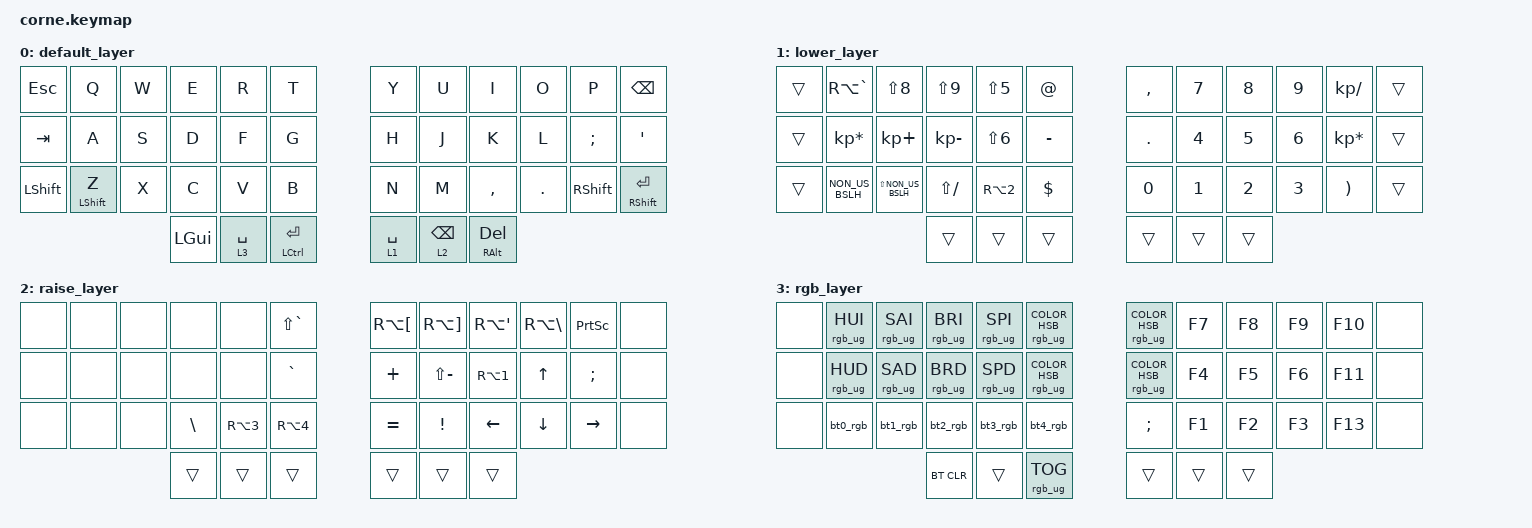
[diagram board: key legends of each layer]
/*
 * Copyright (c) 2020 The ZMK Contributors
 *
 * SPDX-License-Identifier: MIT
 */

#include <behaviors.dtsi>
#include <dt-bindings/zmk/keys.h>
#include <dt-bindings/zmk/bt.h>
#include <dt-bindings/zmk/rgb.h>

&nice_view_spi {
cs-gpios = <&pro_micro 8 GPIO_ACTIVE_HIGH>;
};

&led_strip {
    chain-length = <27>;
};
/ {
    combos {
        compatible = "zmk,combos";
            combo_acute_n {
            timeout-ms = <300>; // Límite de tiempo para la secuencia
            key-positions = <22 30>; // ACUTE en pos 22, N en pos 30
            bindings = <&n_tilde>;   // Dispara macro ñ
        };
        combo_esc {
            timeout-ms = <50>;
            key-positions = <4 5>;
            bindings = <&kp ESC>;
        };
       compatible = "zmk,combos";
        combo_tab {
            timeout-ms = <50>;
            key-positions = <16 17>;
            bindings = <&kp TAB>;
        };
       compatible = "zmk,combos";
        combo_arr {
            timeout-ms = <50>;
            key-positions = <28 29>;
            bindings = <&kp RA(N2)>;
        };
        compatible = "zmk,combos";
        combo_BSPC1 {
            timeout-ms = <50>;
            key-positions = <18 19>;
            bindings = <&kp LC(BSPC)>;
        };
        compatible = "zmk,combos";
        combo_BSPC2 {
            timeout-ms = <50>;
            key-positions = <9 10>;
            bindings = <&kp BSPC>;
        };
        compatible = "zmk,combos";
        combo_num {
            timeout-ms = <50>;
            key-positions = <6 7>;
            bindings = <&tog 1>;
        };
        compatible = "zmk,combos";
        combo_ene {
            timeout-ms = <50>;
            key-positions = <21 22>;
            bindings = <&kp SEMI>;
        };
        compatible = "zmk,combos";
        combo_ene2 {
            timeout-ms = <50>;
            key-positions = <30 31>;
            bindings = <&kp SEMI>;
        };
        compatible = "zmk,combos";
        combo_suspende {
            timeout-ms = <50>;
            key-positions = <14 15 16>;
            bindings = <&win_sleep>;
        };
        compatible = "zmk,combos";
        combo_blqmayus {
            timeout-ms = <50>;
            key-positions = <25 26>;
            bindings = <&kp CLCK>;
        };
         compatible = "zmk,combos";
         combo_ctrolz {
            timeout-ms = <50>;
            key-positions = <15 16>;
            bindings = <&kp LC(Z)>;
        };
    };
};
/ {
    behaviors {
        hold_tap {
          tapping-term-ms = <300>;     // Ajusta el tiempo global (ms)
          flavor = "tap-preferred";    // "balanced" o "hold-preferred"
          // hold-trigger-on-release;  // Opcional: mejora detección de taps
          // retro-tap;                // Opcional: suelta y decide tap si no chordeaste
        };
        bt0_rgb: behavior_bt0_rgb {
            compatible = "zmk,behavior-macro";
            label = "BT0_RGB";
            #binding-cells = <0>;
            bindings = <&bt BT_SEL 0 &rgb_ug RGB_COLOR_HSB(300,100,5)>;
        };
        bt1_rgb: behavior_bt1_rgb {
            compatible = "zmk,behavior-macro";
            label = "BT1_RGB";
            #binding-cells = <0>;
            bindings = <&bt BT_SEL 1 &rgb_ug RGB_COLOR_HSB(180,100,5)>;
        };
        bt2_rgb: behavior_bt2_rgb {
            compatible = "zmk,behavior-macro";
            label = "BT2_RGB";
            #binding-cells = <0>;
            bindings = <&bt BT_SEL 2 &rgb_ug RGB_COLOR_HSB(0,100,5)>;
        };
        bt3_rgb: behavior_bt3_rgb {
            compatible = "zmk,behavior-macro";
            label = "BT3_RGB";
            #binding-cells = <0>;
            bindings = <&bt BT_SEL 3 &rgb_ug RGB_COLOR_HSB(120,100,5)>;
        };
        bt4_rgb: behavior_bt4_rgb {
            compatible = "zmk,behavior-macro";
            label = "BT4_RGB";
            #binding-cells = <0>;
            bindings = <&bt BT_SEL 4 &rgb_ug RGB_COLOR_HSB(45,100,5)>;
        };
         win_sleep: win_sleep {
            wait-ms = <500>;
            tap-ms = <5>;
            compatible = "zmk,behavior-macro";
            label = "WIN_SLEEP_KEY";
            #binding-cells = <0>;
            bindings = <&kp LG(X) &kp G &kp S>;
        };
        n_tilde: n_tilde {
            compatible = "zmk,behavior-macro";
            label = "ñ Macro";
            #binding-cells = <0>;
            bindings = <&kp SEMI>; // Unicode para ñ
        };
    };
};
/ {
        keymap {
                compatible = "zmk,keymap";
                default_layer {
// -----------------------------------------------------------------------------------------
// |   0  |  1  |  2  |  3  |  4  |  5  |   |  6  |  7   |  8  |  9  |  10 | 11 | 
// |  12  | 13  | 14  | 15  |  16 |  17 |   | 18  |  19  |  20 |  21 | 22  | 23 |
// |  24  | 25  | 26  | 27  |  28 |  29 |   | 30  |  31  |  32 |  33 | 34  | 35 |
//                    | 36  | 37  | 38  |   | 39  |  40  |  41 |
// -----------------------------------------------------------------------------------------
// |      |  Q  |  W  |  E  |  R  |  T  |   |  Y  |  U   |  I  |  O  |  P  |    |
// |      |  A  |  S  |  D  |  F  |  G  |   |  H  |  J   |  K  |  L  | ´   |    |
// |      |  Z  |  X  |  C  |  V  |  B  |   |  N  |  M   |  ,  |  .  | SHFT |    |
//         SHFT         | SHFT| LWR | CTRL |   | SPAC | RSE  | ALT |
//  0
                        bindings = <
   &kp ESC   &kp Q       &kp W &kp E &kp R &kp T   &kp Y &kp U  &kp I     &kp O   &kp P         &kp BSPC
   &kp TAB   &kp A       &kp S &kp D &kp F &kp G   &kp H &kp J  &kp K     &kp L   &kp SEMI      &kp SQT
   &kp LSHFT &mt LSHFT Z &kp X &kp C &kp V &kp B   &kp N &kp M  &kp COMMA &kp DOT &kp RSHFT     &mt RSHFT RET
       &kp LGUI &lt 3 SPACE &mt LCTRL RET    &lt 1 SPACE &lt 2 BSPC &mt RALT DEL
                        >;
                };
                lower_layer {
// -----------------------------------------------------------------------------------------
// |      | \ |  (  |  )  |  %  |  "  |   |  ,  |  7  |  8  |  9  | BKSP|      |
// |      | * |  +  |  -  |  &  |  '  |   |  .  |  4  |  5  |  6  |  /  |      |
// |      | z |  >  |  _  |  $  |  @  |   |  0  |  1  |  2  |  3  |  =  |      |
//                    |     |     |CTRL |   | ENT |     | ALT | 
// 1
                        bindings = <
   &trans &kp RA(GRAVE)    &kp LS(N8)          &kp LS(N9)     &kp LS(N5)   &kp AT         &kp COMMA  &kp N7   &kp N8  &kp N9  &kp KP_DIVIDE   &trans
   &trans &kp KP_ASTERISK  &kp KP_PLUS         &kp KP_MINUS   &kp LS(N6)   &kp MINUS      &kp DOT    &kp N4   &kp N5  &kp N6  &kp KP_ASTERISK &trans
   &trans &kp NON_US_BSLH  &kp LS(NON_US_BSLH) &kp LS(FSLH)   &kp RA(N2)   &kp DLLR       &kp N0     &kp N1   &kp N2  &kp N3  &kp RPAR        &trans
                          	                   &trans         &trans       &trans         &trans     &trans   &trans 
                        >;
                };
                raise_layer {
// -----------------------------------------------------------------------------------------
// |     |     |    |     |     |  ª  |     | [  |  ]  |  {   |  }    | PSCR  |    |
// |     |     |    |     |     |  º  |     | ¿  |  ?  |  #   |  UP   |       |    |
// |     |     |    |     |  #  |  ~  |     |  ¡ |  !  | LEFT | DOWN  | RIGHT |    |
//             |    |     |     |     |     |    | ALT |
// 2
                        bindings = <
   &none    &none      &none       &none     &none      &kp LS(GRAVE)  &kp RA(LBKT)  &kp RA(RBKT)   &kp RA(SQT)  &kp RA(BSLH)  &kp PSCRN  &none
   &none    &none      &none       &none     &none      &kp GRAVE      &kp PLUS      &kp LS(MINUS)  &kp RA(N1)   &kp UP        &kp SEMI   &none
   &none    &none      &none       &kp BSLH  &kp RA(N3) &kp RA(N4)     &kp EQUAL     &kp EXCL       &kp LEFT     &kp DOWN      &kp RIGHT  &none
                                   &trans    &trans     &trans         &trans        &trans         &trans
                        >;
                };
                rgb_layer {
// -----------------------------------------------------------------------------------------
// | F1  | Tono+ |  Satura+ | Brillo+ |    |      |     |   |  F7  |  F8  |  F9  | F10  |    |
// | F7  | Tono- |  Satura- | Brillo- |    |      |     |   |  F4  |  F5  |  F6  | F11  |    |
// |     | BT1   |   BT2    | BT3     |BT4  | BT5 |     | ñ |  F1  |  F2  |  F3  | F12  |    |
//                          |BTCLR    |     |     |     |   |      |      |
// 3
                        bindings = <
 &none   &rgb_ug RGB_HUI  &rgb_ug RGB_SAI  &rgb_ug RGB_BRI   &rgb_ug RGB_SPI &rgb_ug RGB_COLOR_HSB(180,100,5)        &rgb_ug RGB_COLOR_HSB(180,100,2)  &kp F7   &kp F8  &kp F9  &kp F10  &none
 &none   &rgb_ug RGB_HUD  &rgb_ug RGB_SAD  &rgb_ug RGB_BRD   &rgb_ug RGB_SPD &rgb_ug RGB_COLOR_HSB(300,100,5)        &rgb_ug RGB_COLOR_HSB(300,100,2)  &kp F4   &kp F5  &kp F6  &kp F11  &none
 &none   &bt0_rgb         &bt1_rgb         &bt2_rgb          &bt3_rgb        &bt4_rgb                                &kp SEMI                          &kp F1   &kp F2  &kp F3  &kp F13  &none
                                           &bt BT_CLR        &trans          &rgb_ug RGB_TOG                         &trans                            &trans   &trans
                        >;
                };                      
        };
};
